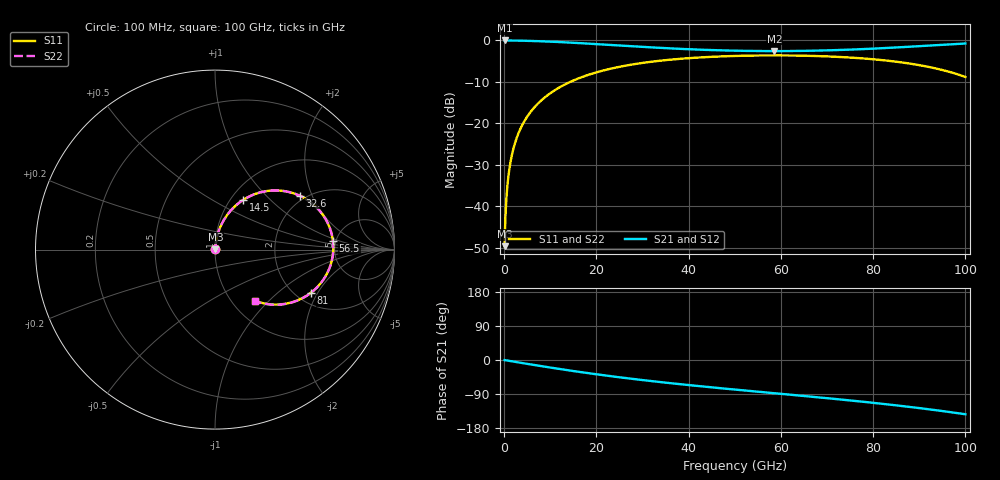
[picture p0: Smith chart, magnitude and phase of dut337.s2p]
! Touchstone file exported from HFSS 2026.1.0
!  File:  C:/ffzhzh/LocalFiles/Ansys_Project_Files/temp_train_RDL_337_1783502988_44152.aedt
!  Generated:  05:31:14 PM Jul  8, 2026
!  Design:  RDL
!  Project:  temp_train_RDL_337_1783502988_44152
! Variables:
!  h_bsmrdl = 2um
!  h_ox = 20um
!  h_rdl = 5um
!  h_sub = 80um
!  h_tmrdl = 4.92um
!  h_tsv = 80um
!  h_via = 3um
!  l_bsmrdl = 300um
!  l_sub = 888.68um
!  l_tmrdl = 488.68um
!  m_sub = 200um
!  pitch = 59.2um
!  r_tsv = 6um
!  s_tmrdl = 10um
!  w_bsmrdl = 18um
!  w_sub = 500um
!  w_tmrdl = 17.93um
!  x_tsv_center1 = 497.645um
!  x_tsv_center2 = 815.645um
!  x_tsv_center3 = 1322.255um
!  x_tsv_center4 = 1640.255um
!  x_tsv_center5 = 2146.865um
!  x_tsv_center6 = 2464.865um
# GHz S MA R 50.000000
! Terminal data exported
! Port[1] = TM_RDL1_1_T1
! Port[2] = TM_RDL1_1_T2
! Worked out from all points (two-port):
!   1000 points, 100 MHz to 100 GHz, reference 50 ohm
!   highest |S21| = -0.02 dB at 100 MHz (marker M1); lowest = -2.6 dB at 58.6 GHz (marker M2)
!   |S21| within 3 dB of the highest: start of sweep to end of sweep
!   lowest |S11| = -49.6 dB at 100 MHz (marker M3), VSWR 1.01, Z = 50.2 + j0.26 ohm
!   |S11| at or under -10 dB: start of sweep to 14.32 GHz
!   |S22| runs from -49.6 to -3.6 dB; largest |S21 - S12| = 1.6e-14
!   S11 on the Smith chart (normalised r, x): 100 MHz: 1.00, +0.01; 14.5 GHz: 1.14, +0.71; 32.6 GHz: 1.86, +1.63; 56.5 GHz: 4.72, +0.80; 81 GHz: 2.39, -1.75; 100 GHz: 1.27, -0.84
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0.1  0.003328 51.2  0.9979 -0.2  0.9979 -0.2  0.003328 51.2
! Gamma 0 0 0 0
! Port Impedance 50 0 50 0
0.8  0.02014 81.2  0.9973 -1.7  0.9973 -1.7  0.02014 81.3
1.3  0.03239 82.6  0.9968 -2.7  0.9968 -2.7  0.03239 82.6
2.2  0.05435 82.2  0.9954 -4.6  0.9954 -4.6  0.05435 82.2
3.5  0.0856 80.2  0.9925 -7.2  0.9925 -7.2  0.0856 80.2
5.4  0.13 76.8  0.9865 -11.0  0.9865 -11.0  0.13 76.8
7.8  0.1839 72.3  0.9767 -15.7  0.9767 -15.7  0.1839 72.3
10.8  0.2476 66.9  0.9616 -21.4  0.9616 -21.4  0.2476 66.9
14.5  0.3196 60.3  0.9393 -28.2  0.9393 -28.2  0.3196 60.3
16.8  0.3604 56.4  0.9241 -32.3  0.9241 -32.3  0.3604 56.3
24.2  0.4705 44.5  0.873 -44.4  0.873 -44.4  0.4705 44.5
32.6  0.5592 32.5  0.8196 -56.6  0.8196 -56.6  0.5592 32.5
33.4  0.5658 31.5  0.8151 -57.6  0.8151 -57.6  0.5658 31.4
41.7  0.6195 21.0  0.7757 -68.2  0.7757 -68.2  0.6195 21.0
50.1  0.6496 11.3  0.7513 -78.1  0.7513 -78.1  0.6496 11.2
56.5  0.6587 4.2  0.7436 -85.4  0.7436 -85.4  0.6588 4.1
58.6  0.6593 1.9  0.7431 -87.7  0.7431 -87.7  0.6593 1.8
66.7  0.6504 -7.1  0.7507 -96.9  0.7507 -96.9  0.6505 -7.2
81  0.5858 -24.2  0.8001 -114.3  0.8001 -114.3  0.5858 -24.4
83.4  0.5675 -27.3  0.8127 -117.5  0.8127 -117.5  0.5675 -27.5
92.2  0.4772 -39.7  0.8662 -130.2  0.8662 -130.2  0.4772 -39.9
100  0.363 -51.9  0.9171 -143.2  0.9171 -143.2  0.3629 -52.2
